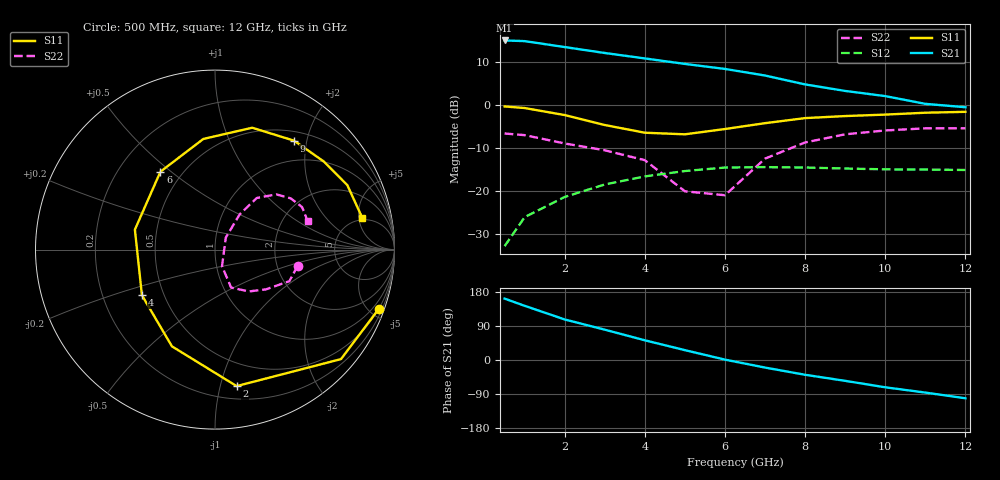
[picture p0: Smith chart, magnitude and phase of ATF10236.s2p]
! ATF-10236 S-PARAMETERS
! Vds=2V Id=25mA
! LAST UPDATED 06-28-89
! FREQ S11 S21 S12 S22
# GHZ S MA R 50
! GHZ MAG ANG MAG ANG MAG ANG MAG ANG
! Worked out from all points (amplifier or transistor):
!   13 points, 500 MHz to 12 GHz, reference 50 ohm
!   highest |S21| = 15.1 dB at 500 MHz (marker M1)
!   |S21| within 3 dB of that: start of sweep to 3.066 GHz
!   unconditionally stable (mu >= 1): 5.33 GHz to end of sweep
!   at 2 GHz: K = 0.60, MSG = 17.4 dB, |S12| = -21.3 dB
!   at 6 GHz: K = 1.01, MAG = 10.9 dB, |S12| = -14.5 dB
!   at 12 GHz: K = 1.09, MAG = 5.5 dB, |S12| = -15.0 dB
!   S11 on the Smith chart (normalised r, x): 500 MHz: 0.50, -5.63; 2 GHz: 0.30, -1.13; 4 GHz: 0.38, -0.25; 6 GHz: 0.38, +0.46; 9 GHz: 0.64, +1.78; 12 GHz: 4.72, +5.61
0.5  0.97 -20.0  5.68 162.0  0.023 76.0  0.47 -11.0
1  0.93 -41.0  5.58 143.0  0.05 71.0  0.45 -23.0
2  0.77 -81.0  4.76 107.0  0.086 51.0  0.36 -38.0
3  0.59 -114.0  4.06 80.0  0.12 35.0  0.3 -51.0
4  0.48 -148.0  3.51 52.0  0.149 18.0  0.23 -67.0
5  0.46 166.0  3.03 26.0  0.172 3.0  0.1 -67.0
6  0.53 125.0  2.65 1.0  0.189 -14.0  0.09 48.0
7  0.62 96.0  2.22 -20.0  0.191 -28.0  0.24 55.0
8  0.71 73.0  1.75 -39.0  0.189 -41.0  0.37 51.0
9  0.75 54.0  1.47 -55.0  0.184 -46.0  0.46 42.0
10  0.78 39.0  1.28 -72.0  0.18 -59.0  0.51 34.0
11  0.82 26.0  1.04 -86.0  0.179 -71.0  0.54 26.0
12  0.84 12.0  0.95 -101.0  0.177 -82.0  0.54 17.0
